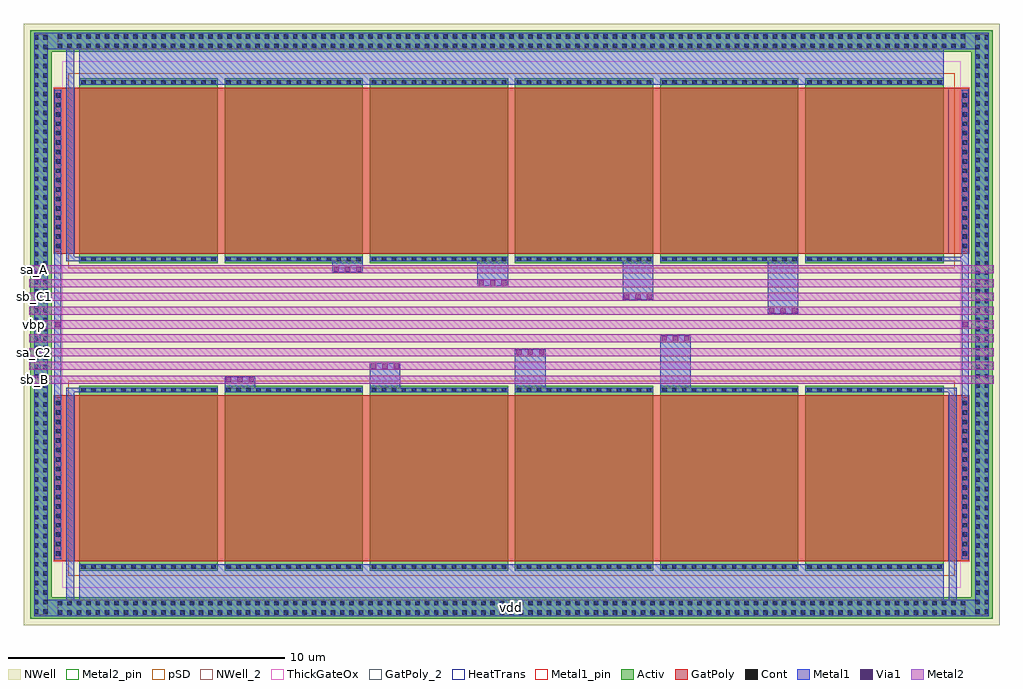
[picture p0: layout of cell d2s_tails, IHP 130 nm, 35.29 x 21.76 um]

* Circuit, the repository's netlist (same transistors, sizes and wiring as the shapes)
* Extracted by KLayout with SG13CMOS5L LVS runset on : 31/10/2026 18:46

.SUBCKT d2s_tails sa_A sa_B sa_C1 sa_C2 sb_A sb_B sb_C1 sb_C2 vbp vdd
M$1 vdd vbp vdd vdd sg13_hv_pmos L=6u W=15u AS=5.1p AD=5.1p PS=32.04u PD=32.04u
+ rfmode=0
M$2 vdd vbp sb_B vdd sg13_hv_pmos L=6u W=5u AS=1.7p AD=1.7p PS=10.68u PD=10.68u
+ rfmode=0
M$3 vdd vbp sa_C1 vdd sg13_hv_pmos L=6u W=5u AS=1.7p AD=1.7p PS=10.68u
+ PD=10.68u rfmode=0
M$4 vdd vbp sa_C2 vdd sg13_hv_pmos L=6u W=5u AS=1.7p AD=1.7p PS=10.68u
+ PD=10.68u rfmode=0
M$5 vdd vbp sb_A vdd sg13_hv_pmos L=6u W=5u AS=1.7p AD=1.7p PS=10.68u PD=10.68u
+ rfmode=0
M$8 sa_A vbp vdd vdd sg13_hv_pmos L=6u W=5u AS=1.7p AD=1.7p PS=10.68u PD=10.68u
+ rfmode=0
M$9 sb_C2 vbp vdd vdd sg13_hv_pmos L=6u W=5u AS=1.7p AD=1.7p PS=10.68u
+ PD=10.68u rfmode=0
M$10 sb_C1 vbp vdd vdd sg13_hv_pmos L=6u W=5u AS=1.7p AD=1.7p PS=10.68u
+ PD=10.68u rfmode=0
M$11 sa_B vbp vdd vdd sg13_hv_pmos L=6u W=5u AS=1.7p AD=1.7p PS=10.68u
+ PD=10.68u rfmode=0
M$12 vbp vbp vdd vdd sg13_hv_pmos L=6u W=5u AS=1.7p AD=1.7p PS=10.68u PD=10.68u
+ rfmode=0
.ENDS d2s_tails

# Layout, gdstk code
from math import pi, radians
import gdstk
lib = gdstk.Library(unit=1e-6, precision=1e-09)
def R(c, l, rs):  # rectangles x0, y0, x1, y1
    for r in rs: c.add(gdstk.rectangle(r[:2], r[2:], *l))
def A(c, l, x, y, w, h, nx, ny, dx, dy):  # array of equal rectangles
    R(c, l, [(x+i*dx, y+j*dy, x+i*dx+w, y+j*dy+h) for i in range(nx) for j in range(ny)])
Activ = (1, 0)
GatPoly = (5, 0)
GatPoly_2 = (5, 2)
Cont = (6, 0)
Metal1 = (8, 0)
Metal1_pin = (8, 2)
Metal2 = (10, 0)
Metal2_pin = (10, 2)
pSD = (14, 0)
Via1 = (19, 0)
NWell = (31, 0)
NWell_2 = (31, 2)
ThickGateOx = (44, 0)
HeatTrans = (51, 0)

pmoshv_1 = lib.new_cell('pmosHV$1')
R(pmoshv_1, Activ, [(0,0,0.3,0.3), (0,0,6.68,5), (6.38,0,6.68,0.3)])
R(pmoshv_1, GatPoly, [(0.34,-0.18,6.34,5.18)])
R(pmoshv_1, GatPoly_2, [(0.34,-0.18,6.34,5.18)])
A(pmoshv_1, Cont, 0.07, 0.07, 0.16, 0.16, 1, 4, 0, 0.36)
A(pmoshv_1, Cont, 6.45, 0.07, 0.16, 0.16, 1, 4, 0, 0.36)
A(pmoshv_1, Cont, 0.07, 1.515, 0.16, 0.16, 1, 3, 0, 0.36)
A(pmoshv_1, Cont, 6.45, 1.515, 0.16, 0.16, 1, 3, 0, 0.36)
A(pmoshv_1, Cont, 0.07, 2.6, 0.16, 0.16, 1, 3, 0, 0.36)
A(pmoshv_1, Cont, 6.45, 2.6, 0.16, 0.16, 1, 3, 0, 0.36)
A(pmoshv_1, Cont, 0.07, 3.685, 0.16, 0.16, 1, 3, 0, 0.36)
A(pmoshv_1, Cont, 6.45, 3.685, 0.16, 0.16, 1, 3, 0, 0.36)
R(pmoshv_1, Cont, [(0.07,4.77,0.23,4.93), (6.45,4.77,6.61,4.93)])
R(pmoshv_1, Metal1, [(0.07,0,0.23,5), (6.45,0,6.61,5)])
R(pmoshv_1, Metal1_pin, [(0.07,0,0.23,5), (6.45,0,6.61,5)])
R(pmoshv_1, pSD, [(-0.18,-0.4,6.86,5.4)])
R(pmoshv_1, NWell, [(-0.62,-0.62,7.3,5.62)])
R(pmoshv_1, ThickGateOx, [(-0.62,-0.62,7.3,5.62)])
R(pmoshv_1, HeatTrans, [(0.34,-0.18,6.34,5.18)])
pmoshv_1.add(gdstk.Label('pmosHV', (3.34,2.5), layer=63, texttype=0))
pmoshv_1.add(gdstk.Label('pmos', (3.34,2.5), layer=51, texttype=0))

d2s_tails_row = lib.new_cell('d2s_tails_row')
R(d2s_tails_row, GatPoly, [(-0.93,0.34,-0.18,6.34), (31.43,0.34,32.18,6.34)])
A(d2s_tails_row, Cont, -0.86, 0.54, 0.16, 0.16, 1, 17, 0, 0.34)
A(d2s_tails_row, Cont, 31.95, 0.54, 0.16, 0.16, 1, 17, 0, 0.34)
R(d2s_tails_row, Metal1, [(0,-1.65,31.25,0.23), (-0.91,0.41,-0.65,6.27), (31.9,0.41,32.16,6.27)])
R(d2s_tails_row, Metal1_pin, [(0,-1.65,31.25,-1.05), (-0.91,0.41,-0.65,6.27), (31.9,0.41,32.16,6.27)])
r = gdstk.Reference(pmoshv_1, (0,0), rotation=pi/2, x_reflection=True); r.repetition = gdstk.Repetition(1, 6, v1=(0,0), v2=(5.25,0)); d2s_tails_row.add(r)
d2s_tails_row.add(gdstk.Label('vdd', (15.625,-1.35), layer=8, texttype=25))
d2s_tails_row.add(gdstk.Label('vbp', (-0.78,3.34), layer=8, texttype=25))
d2s_tails_row.add(gdstk.Label('vbp', (32.03,3.34), layer=8, texttype=25))

ntap1 = lib.new_cell('ntap1')
R(ntap1, Activ, [(0,0,0.78,21.28)])
A(ntap1, Cont, 0.14, 0.19, 0.16, 0.16, 1, 62, 0, 0.34)
A(ntap1, Cont, 0.48, 0.19, 0.16, 0.16, 1, 62, 0, 0.34)
R(ntap1, Metal1, [(0.14,0.14,0.64,21.14)])
R(ntap1, Metal1_pin, [(0.14,0.14,0.64,21.14), (0.14,0.19,0.64,21.09)])
R(ntap1, NWell, [(-0.24,-0.24,1.02,21.52), (0,0,0.78,21.28)])
R(ntap1, NWell_2, [(0,0,0.78,21.28)])
ntap1.add(gdstk.Label('well', (0.39,0.01), layer=31, texttype=0))
ntap1.add(gdstk.Label('well', (0.39,0.01), layer=63, texttype=0))

ntap1_1 = lib.new_cell('ntap1$1')
R(ntap1_1, Activ, [(0,0,33.25,0.78)])
A(ntap1_1, Cont, 0.225, 0.14, 0.16, 0.16, 97, 2, 0.34, 0.34)
R(ntap1_1, Metal1, [(0.225,0.09,33.025,0.69)])
R(ntap1_1, Metal1_pin, [(0.225,0.09,33.025,0.69), (0.225,0.14,33.025,0.64)])
R(ntap1_1, NWell, [(-0.24,-0.24,33.49,1.02), (0,0,33.25,0.78)])
R(ntap1_1, NWell_2, [(0,0,33.25,0.78)])
ntap1_1.add(gdstk.Label('well', (16.625,0.01), layer=31, texttype=0))
ntap1_1.add(gdstk.Label('well', (16.625,0.01), layer=63, texttype=0))

d2s_tails_wiring = lib.new_cell('d2s_tails_wiring')
R(d2s_tails_wiring, Metal1, [(-1.64,-1.65,32.89,-1.6), (-1.24,-1.65,-0.675,-1.05), (31.925,-1.65,32.49,-1.05), (-0.47,-1.15,-0.18,6.61), (31.43,-1.15,31.72,6.61), (-0.91,6.17,-0.65,11.63), (31.9,6.17,32.16,11.63), (-0.47,6.45,0.1,6.61), (5.25,6.45,6.36,7.005), (10.5,6.45,11.61,7.505), (15.75,6.45,16.86,8.005), (21,6.45,22.11,8.505), (31.15,6.45,31.72,6.61), (24.89,9.295,26,11.35), (19.64,9.795,20.75,11.35), (14.39,10.295,15.5,11.35), (9.14,10.795,10.25,11.35), (-0.47,11.19,-0.18,18.95), (-0.47,11.19,0.1,11.35), (31.15,11.19,32.16,11.35), (-1.24,18.85,-0.675,19.45), (31.925,18.85,32.49,19.45), (-1.64,19.4,32.89,19.45)])
A(d2s_tails_wiring, Via1, 5.3, 6.805, 0.19, 0.19, 3, 1, 0.41, 0)
A(d2s_tails_wiring, Via1, 10.55, 7.305, 0.19, 0.19, 3, 1, 0.41, 0)
A(d2s_tails_wiring, Via1, 15.8, 7.805, 0.19, 0.19, 3, 1, 0.41, 0)
A(d2s_tails_wiring, Via1, 21.05, 8.305, 0.19, 0.19, 3, 1, 0.41, 0)
A(d2s_tails_wiring, Via1, 24.94, 9.305, 0.19, 0.19, 3, 1, 0.41, 0)
A(d2s_tails_wiring, Via1, 19.69, 9.805, 0.19, 0.19, 3, 1, 0.41, 0)
A(d2s_tails_wiring, Via1, 14.44, 10.305, 0.19, 0.19, 3, 1, 0.41, 0)
A(d2s_tails_wiring, Via1, 9.19, 10.805, 0.19, 0.19, 3, 1, 0.41, 0)
R(d2s_tails_wiring, Via1, [(-0.875,8.805,-0.685,8.995), (31.935,8.805,32.125,8.995)])
R(d2s_tails_wiring, NWell, [(-2.02,-1.98,33.27,19.78)])
R(d2s_tails_wiring, ThickGateOx, [(-0.62,-0.62,31.87,18.42)])
d2s_tails_wiring.add(gdstk.FlexPath([(-1.665,6.9),(32.915,6.9)], 0.29, ends="extended", simple_path=True, layer=10, datatype=0))  # Metal2
d2s_tails_wiring.add(gdstk.FlexPath([(-1.665,7.4),(32.915,7.4)], 0.29, ends="extended", simple_path=True, layer=10, datatype=0))  # Metal2
d2s_tails_wiring.add(gdstk.FlexPath([(-1.665,7.9),(32.915,7.9)], 0.29, ends="extended", simple_path=True, layer=10, datatype=0))  # Metal2
d2s_tails_wiring.add(gdstk.FlexPath([(-1.665,8.4),(32.915,8.4)], 0.29, ends="extended", simple_path=True, layer=10, datatype=0))  # Metal2
d2s_tails_wiring.add(gdstk.FlexPath([(-1.665,8.9),(32.915,8.9)], 0.29, ends="extended", simple_path=True, layer=10, datatype=0))  # Metal2
d2s_tails_wiring.add(gdstk.FlexPath([(-1.665,9.4),(32.915,9.4)], 0.29, ends="extended", simple_path=True, layer=10, datatype=0))  # Metal2
d2s_tails_wiring.add(gdstk.FlexPath([(-1.665,9.9),(32.915,9.9)], 0.29, ends="extended", simple_path=True, layer=10, datatype=0))  # Metal2
d2s_tails_wiring.add(gdstk.FlexPath([(-1.665,10.4),(32.915,10.4)], 0.29, ends="extended", simple_path=True, layer=10, datatype=0))  # Metal2
d2s_tails_wiring.add(gdstk.FlexPath([(-1.665,10.9),(32.915,10.9)], 0.29, ends="extended", simple_path=True, layer=10, datatype=0))  # Metal2
d2s_tails_wiring.add(gdstk.Reference(ntap1, (-1.78,-1.74)))
d2s_tails_wiring.add(gdstk.Reference(ntap1, (32.25,-1.74)))
d2s_tails_wiring.add(gdstk.Reference(ntap1_1, (-1,18.76)))
d2s_tails_wiring.add(gdstk.Reference(ntap1_1, (-1,-1.74)))
d2s_tails_wiring.add(gdstk.Label('Tdummy', (2.5,3.34), layer=63, texttype=0))
d2s_tails_wiring.add(gdstk.Label('Tdummy', (2.5,14.46), layer=63, texttype=0))
d2s_tails_wiring.add(gdstk.Label('TBb', (7.75,3.34), layer=63, texttype=0))
d2s_tails_wiring.add(gdstk.Label('TAa', (7.75,14.46), layer=63, texttype=0))
d2s_tails_wiring.add(gdstk.Label('TC1a', (13,3.34), layer=63, texttype=0))
d2s_tails_wiring.add(gdstk.Label('TC2b', (13,14.46), layer=63, texttype=0))
d2s_tails_wiring.add(gdstk.Label('TC2a', (18.25,3.34), layer=63, texttype=0))
d2s_tails_wiring.add(gdstk.Label('TC1b', (18.25,14.46), layer=63, texttype=0))
d2s_tails_wiring.add(gdstk.Label('TAb', (23.5,3.34), layer=63, texttype=0))
d2s_tails_wiring.add(gdstk.Label('TBa', (23.5,14.46), layer=63, texttype=0))
d2s_tails_wiring.add(gdstk.Label('Tdummy', (28.75,3.34), layer=63, texttype=0))
d2s_tails_wiring.add(gdstk.Label('BP', (28.75,14.46), layer=63, texttype=0))

d2s_tails = lib.new_cell('d2s_tails')
R(d2s_tails, Metal1_pin, [(-0.775,-1.65,32.025,-1.05)])
A(d2s_tails, Metal2_pin, -1.81, 6.755, 0.4, 0.29, 1, 9, 0, 0.5)
d2s_tails.add(gdstk.Reference(d2s_tails_row, (0,0)))
d2s_tails.add(gdstk.Reference(d2s_tails_row, (31.25,17.8), rotation=pi))
d2s_tails.add(gdstk.Reference(d2s_tails_wiring, (0,0)))
d2s_tails.add(gdstk.Label('vdd', (15.625,-1.35), layer=8, texttype=25))
d2s_tails.add(gdstk.Label('sb_B', (-1.61,6.9), layer=10, texttype=25))
d2s_tails.add(gdstk.Label('sa_C1', (-1.61,7.4), layer=10, texttype=25))
d2s_tails.add(gdstk.Label('sa_C2', (-1.61,7.9), layer=10, texttype=25))
d2s_tails.add(gdstk.Label('sb_A', (-1.61,8.4), layer=10, texttype=25))
d2s_tails.add(gdstk.Label('vbp', (-1.61,8.9), layer=10, texttype=25))
d2s_tails.add(gdstk.Label('sa_B', (-1.61,9.4), layer=10, texttype=25))
d2s_tails.add(gdstk.Label('sb_C1', (-1.61,9.9), layer=10, texttype=25))
d2s_tails.add(gdstk.Label('sb_C2', (-1.61,10.4), layer=10, texttype=25))
d2s_tails.add(gdstk.Label('sa_A', (-1.61,10.9), layer=10, texttype=25))

lib.write_gds('d2s_tails.gds')
